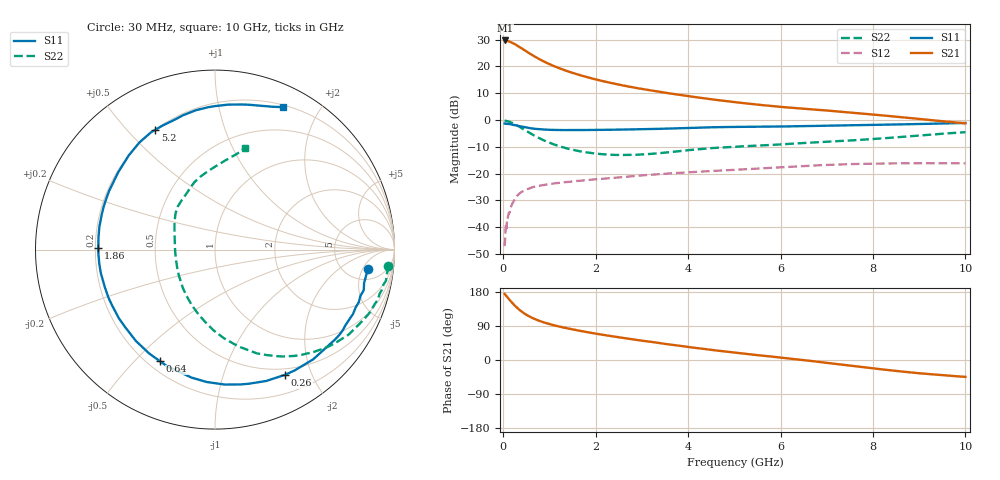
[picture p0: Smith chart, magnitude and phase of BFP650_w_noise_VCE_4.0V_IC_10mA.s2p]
! Infineon Technologies  Discrete & RF Semiconductors
! BFP650
! VCE =  4.0 V,  IC =  10 mA
! Common Emitter S-Parameters:  Jan 2016
# GHz  S  MA  R  50
!  f  S11  S21  S12  S22
! GHz  MAG  ANG  MAG  ANG  MAG  ANG  MAG  ANG
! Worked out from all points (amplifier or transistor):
!   229 points, 30 MHz to 10 GHz, reference 50 ohm
!   highest |S21| = 29.7 dB at 40 MHz (marker M1)
!   |S21| within 3 dB of that: start of sweep to 402.5 MHz
!   unconditionally stable (mu >= 1): 3.303 GHz to end of sweep
!   at 280 MHz: K = 0.15, MSG = 28.4 dB, |S12| = -28.8 dB
!   at 1.78 GHz: K = 0.72, MSG = 19.4 dB, |S12| = -22.5 dB
!   at 10 GHz: K = 1.05, MAG = 6.1 dB, |S12| = -16.2 dB
!   lowest NFmin = 0.58 dB at 450 MHz
!   S11 on the Smith chart (normalised r, x): 30 MHz: 8, -6; 260 MHz: 0.42, -1.63; 640 MHz: 0.25, -0.59; 1.86 GHz: 0.21, +0.01; 5.2 GHz: 0.20, +0.60; 10 GHz: 0.22, +1.57
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0.03  0.8582 -7.3  30.47 174.5  0.0044 80.6  0.9697 -5.3
0.04  0.854 -10.1  30.62 172.9  0.0056 77.8  0.9691 -6.8
0.1  0.8486 -25.0  29.96 164.1  0.0153 76.6  0.9497 -17.0
0.15  0.8354 -36.9  28.8 156.9  0.0218 70.3  0.9178 -24.9
0.2  0.8204 -48.2  27.6 149.9  0.0277 63.7  0.8822 -32.5
0.26  0.7996 -60.7  25.9 142.3  0.0342 60.6  0.8288 -40.9
0.34  0.7709 -75.8  23.47 133.4  0.0416 53.8  0.7563 -51.0
0.45  0.7392 -93.5  20.41 123.2  0.0478 46.7  0.6623 -62.9
0.5  0.7252 -100.3  19.12 119.3  0.0502 44.3  0.6246 -67.9
0.64  0.6933 -116.2  16.09 110.5  0.0556 38.8  0.5301 -79.4
0.8  0.6733 -130.9  13.43 102.3  0.0594 35.0  0.4494 -91.1
1  0.658 -144.6  11.05 94.8  0.0635 31.0  0.377 -103.4
1.3  0.6491 -160.1  8.677 85.8  0.0685 28.0  0.308 -119.9
1.7  0.6495 -175.8  6.731 76.1  0.0735 26.0  0.2567 -139.0
1.86  0.6504 179.0  6.168 72.6  0.0761 25.2  0.2447 -146.3
2.6  0.6644 159.7  4.404 58.1  0.086 22.1  0.2223 -176.3
3.4  0.6854 143.3  3.343 44.4  0.0979 17.8  0.2412 159.1
5.1  0.7447 117.6  2.114 18.3  0.1182 8.3  0.3203 129.2
5.2  0.7457 116.5  2.068 17.0  0.1196 7.8  0.323 127.8
6.8  0.7774 99.9  1.551 -4.5  0.1422 -3.3  0.3841 108.8
8.4  0.8224 79.4  1.176 -27.5  0.1549 -17.7  0.467 89.0
10  0.8808 64.4  0.867 -44.6  0.1551 -29.0  0.5922 73.6
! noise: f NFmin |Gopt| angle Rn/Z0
0.45  0.58  0.09  70  0.61
0.9  0.59  0.12  117  0.4
1.9  0.8  0.26  160  0.06
2.4  0.9  0.27  172  0.06
3.5  1.22  0.31  -137  0.22
